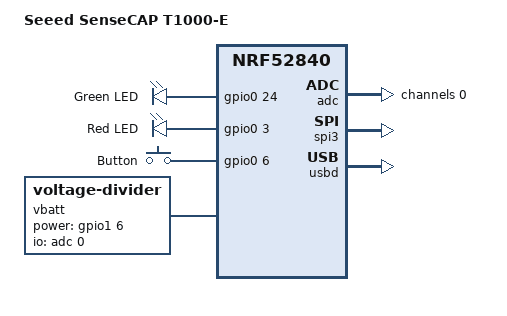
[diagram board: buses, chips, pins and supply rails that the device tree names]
/*
 * The Seeed SenseCAP T1000-E, a Zephyr board of this port's own, since Zephyr has none. Seeed
 * publishes no schematic; everything here is from two Seeed sources, which agree on every pin:
 *
 *   SDK   Seeed-Tracker-T1000-E-for-LoRaWAN-dev-board: smtc_hal/inc/smtc_hal_config.h for the
 *         pins, t1000_e/LR11XX/smtc_shield_lr11xx/common/src/smtc_shield_lr11x0_common.c for the
 *         radio's antenna switch, TCXO and regulator, t1000_e/peripherals/src/sensor.c and
 *         smtc_hal/src/smtc_hal_adc.c for the battery
 *   core  Seeed's Adafruit_nRF52_Arduino, variants/Seeed_Tracker_T1000_E_LoRaWAN, and boards.txt
 *         for its bootloader
 *
 * The radio is an LR1110 on SPI (SCK P0.11, MOSI P1.09, MISO P1.08, NSS P0.12), with BUSY on
 * P0.07, NRESET on P1.10 and DIO9 on P1.01. It is driven by Tern's own driver (src/lr11xx.c), so
 * the node is disabled for Zephyr, which has no LR1110 driver anyway.
 *
 *  - Antenna switch: DIO5 to DIO8, as the SDK sets SetDioAsRfSwitch: DIO5 and DIO8 to receive,
 *    DIO5, DIO6 and DIO8 to send from the low-power amplifier, DIO6 and DIO8 from the high-power
 *    one, none in standby. DIO7 is the GNSS path's, held low here since that is not driven.
 *  - TCXO: 1.8 V from VTCXO. Seeed's three sources disagree: its wiki says 1.6 V, its Arduino core
 *    1.8 V, its SDK 3.0 V. 1.8 V was tried first, as the lower of the two from code, and settled it
 *    on a board (16 November 2026): first contact and messages both ways with a Heltec T114, each
 *    acknowledged the first time, at 10 to 14 dB SNR. CONFIG_TERN_TCXO_MV tries another (Kconfig).
 *  - The DC-DC regulator, and both amplifiers: the SDK's power table goes from -17 dBm on the
 *    low-power one to +22 dBm on the high-power one.
 *
 * The button is on P0.06, high when pressed ("must be configured as input_pulldown", core); the
 * LEDs, green P0.24 and red P0.03, light when high (core, LED_STATE_ON 1). The battery is on AIN0
 * (P0.02) through an even divider (the SDK doubles what it reads) that P1.06 powers, high on, with
 * the light and temperature sensors.
 *
 * Not driven yet: the AG3335 satellite receiver (UART P0.13/P0.14, power P1.11), the
 * accelerometer, the buzzer, and the QSPI flash.
 */

/dts-v1/;
#include <nordic/nrf52840_qiaa.dtsi>
#include <nordic/nrf52840_partition_uf2_sdv7.dtsi>
#include <zephyr/dt-bindings/input/input-event-codes.h>
#include "t1000_e-pinctrl.dtsi"

/ {
	model = "Seeed SenseCAP T1000-E";
	compatible = "seeed,t1000-e";

	aliases {
		led0 = &green_led;
		led1 = &red_led;
		sw0 = &button0;
	};

	leds {
		compatible = "gpio-leds";

		green_led: led_0 {
			gpios = <&gpio0 24 GPIO_ACTIVE_HIGH>;
			label = "Green LED";
		};

		red_led: led_1 {
			gpios = <&gpio0 3 GPIO_ACTIVE_HIGH>;
			label = "Red LED";
		};
	};

	buttons {
		compatible = "gpio-keys";

		button0: button_0 {
			gpios = <&gpio0 6 (GPIO_ACTIVE_HIGH | GPIO_PULL_DOWN)>;
			label = "Button";
			zephyr,code = <INPUT_KEY_0>;
		};
	};

	vbatt: vbatt {
		compatible = "voltage-divider";
		io-channels = <&adc 0>;
		/* Even, as the SDK reads it; its resistors are not published, only that ratio. */
		output-ohms = <1>;
		full-ohms = <2>;
		power-gpios = <&gpio1 6 GPIO_ACTIVE_HIGH>;
	};
};

&gpiote {
	status = "okay";
};

&gpio0 {
	status = "okay";
};

&gpio1 {
	status = "okay";
};

&adc {
	status = "okay";
	#address-cells = <1>;
	#size-cells = <0>;

	channel@0 {
		reg = <0>;
		/* As the SDK sets it: a gain of 1/5 on the 0.6 V reference, 3 V full scale, and 40 us to
		 * sample through the divider. */
		zephyr,gain = "ADC_GAIN_1_5";
		zephyr,reference = "ADC_REF_INTERNAL";
		zephyr,acquisition-time = <ADC_ACQ_TIME(ADC_ACQ_TIME_MICROSECONDS, 40)>;
		zephyr,input-positive = <NRF_SAADC_AIN0>;
		zephyr,resolution = <12>;
	};
};

&spi3 {
	compatible = "nordic,nrf-spim";
	status = "okay";
	cs-gpios = <&gpio0 12 GPIO_ACTIVE_LOW>;
	pinctrl-0 = <&spi3_default>;
	pinctrl-1 = <&spi3_sleep>;
	pinctrl-names = "default", "sleep";

	lora: lora@0 {
		compatible = "semtech,lr1110";
		status = "disabled";
		reg = <0>;
		spi-max-frequency = <DT_FREQ_M(8)>;
		reset-gpios = <&gpio1 10 GPIO_ACTIVE_LOW>;
		busy-gpios = <&gpio0 7 GPIO_ACTIVE_HIGH>;
		irq-gpios = <&gpio1 1 GPIO_ACTIVE_HIGH>;
		lf-clk = "XTAL";
		tcxo-voltage = <1800>;
		use-dcdc;
		hp-pa;
		/* Bits 0 to 3 are DIO5 to DIO8. */
		rfsw-enable = <0x0f>;
		rfsw-standby = <0x00>;
		rfsw-rx = <0x09>;
		rfsw-tx = <0x0b>;
		rfsw-tx-hp = <0x0a>;
	};
};

zephyr_udc0: &usbd {
	status = "okay";
};

#include <../boards/common/usb/cdc_acm_serial.dtsi>
